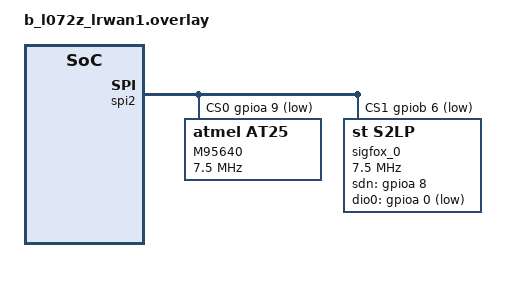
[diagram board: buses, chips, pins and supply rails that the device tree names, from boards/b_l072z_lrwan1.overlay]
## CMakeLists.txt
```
# SPDX-License-Identifier: Apache-2.0

cmake_minimum_required(VERSION 3.13.1)

find_package(Zephyr REQUIRED HINTS $ENV{ZEPHYR_BASE})
project(sigfox_send)

if(CONFIG_CPU_CORTEX_M0PLUS)
zephyr_link_libraries(
	${CMAKE_CURRENT_SOURCE_DIR}/libs/SFX_LIB_MON_CM0+_GCC.a)
elseif(CONFIG_CPU_CORTEX_M3)
zephyr_link_libraries(
	${CMAKE_CURRENT_SOURCE_DIR}/libs/SFX_LIB_MON_CM3_GCC.a)
elseif(CONFIG_CPU_CORTEX_M4 OR CONFIG_CPU_CORTEX_M7)
zephyr_link_libraries(
	${CMAKE_CURRENT_SOURCE_DIR}/libs/SFX_LIB_MON_CM4_GCC.a)
else()
message(FATAL_ERROR "This project only works with ARM Cortex-M MCUs")
endif()

if(CONFIG_SIGFOX_ST_RETRIEVER)
if(CONFIG_CPU_CORTEX_M0PLUS)
zephyr_link_libraries(
	${CMAKE_CURRENT_SOURCE_DIR}/libs/ST_RETRIEVER_LIB_CM0+_GCC.a)
elseif(CONFIG_CPU_CORTEX_M3)
zephyr_link_libraries(
	${CMAKE_CURRENT_SOURCE_DIR}/libs/ST_RETRIEVER_LIB_CM3_GCC.a)
elseif(CONFIG_CPU_CORTEX_M4 OR CONFIG_CPU_CORTEX_M7)
zephyr_link_libraries(
	${CMAKE_CURRENT_SOURCE_DIR}/libs/ST_RETRIEVER_LIB_CM4_GCC.a)
endif()
endif()

zephyr_linker_sources_ifdef(CONFIG_SIGFOX RODATA iar.rtmodel.ld)
zephyr_linker_sources_ifdef(CONFIG_SIGFOX RODATA iar.vfe.ld)

zephyr_include_directories(inc)

FILE(GLOB app_sources src/*.c)
target_sources(app PRIVATE ${app_sources})
```

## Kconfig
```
# Copyright (c) 2020 Gerson Fernando Budke
# SPDX-License-Identifier: Apache-2.0

menu "Sigfox Send Sample"

config SIGFOX_RADIO_API_VERSION
	string "SIGFOX RF API Version"
	default "v2.7.0"

config SIGFOX_MCU_API_VERSION
	string "SIGFOX MCU API Version"
	default "v2.3.7"

config SIGFOX_ST_RETRIEVER
	bool "Build with ST Retriever library"

config SIGFOX_SAMPLE_USE_LEDS
	bool "Build application with LED support"
	default y

module = SIGFOX_SEND
module-str = Log level for Sigfox Send sample
module-help = Enables logging for Sigfox Send sample code.
source "subsys/logging/Kconfig.template.log_config"

endmenu

source "Kconfig.zephyr"
```

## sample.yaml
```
common:
   tags: sigfox
sample:
   description: Demonstration of Sigfox Send functionality
   name: Sigfox Send Sample
tests:
   sample.driver.sigfox.send:
     platform_whitelist: frdm_k64f nucleo_f767zi nucleo_l053r8 sam_v71_xult
```

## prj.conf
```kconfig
# Common Config
CONFIG_LOG=y
CONFIG_GPIO=y
CONFIG_SIGFOX=y
CONFIG_SIGFOX_LOG_LEVEL_DBG=y
CONFIG_MAIN_STACK_SIZE=2048
#CONFIG_SIGFOX_MONARCH_FEATURE=y
#CONFIG_SIGFOX_ST_RETRIEVER=y

# Extended Config (Disable Minimal)
#CONFIG_EEPROM=y
#CONFIG_EEPROM_AT25=y
#CONFIG_SIGFOX_S2LP_LOG_LEVEL_DBG=y
#CONFIG_LOG_BUFFER_SIZE=16384
#CONFIG_SHELL=y
#CONFIG_MINIMAL_LIBC_MALLOC_ARENA_SIZE=2048
#CONFIG_SIGFOX_SEND_LOG_LEVEL_DBG=y

# Minimal Config (Disable Extended)
CONFIG_LOG_MINIMAL=y
CONFIG_SIGFOX_S2LP_LOG_LEVEL_OFF=y
CONFIG_MINIMAL_LIBC_MALLOC_ARENA_SIZE=256
CONFIG_HEAP_MEM_POOL_SIZE=256
```

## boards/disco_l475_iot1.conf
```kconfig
# Copyright (c) 2020 Gerson Fernando Budke <nandojve@gmail.com>
# SPDX-License-Identifier: Apache-2.0

CONFIG_SPI_STM32_DMA=y
CONFIG_SPI_STM32_INTERRUPT=n
CONFIG_SPI_STM32_USE_HW_SS=n

CONFIG_SIGFOX_S2LP=y
CONFIG_SIGFOX_S2LP_RX_STACK_SIZE=2048
```

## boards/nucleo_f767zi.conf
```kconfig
# Copyright (c) 2020 Gerson Fernando Budke <nandojve@gmail.com>
# SPDX-License-Identifier: Apache-2.0

#CONFIG_SPI_STM32_DMA=y
CONFIG_SPI_STM32_INTERRUPT=y
CONFIG_SPI_STM32_USE_HW_SS=y

CONFIG_SIGFOX_S2LP=y
CONFIG_SIGFOX_S2LP_RX_STACK_SIZE=2048
```

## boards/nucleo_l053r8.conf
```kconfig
# Copyright (c) 2020 Gerson Fernando Budke <nandojve@gmail.com>
# SPDX-License-Identifier: Apache-2.0

# STEVAL-FKI868V2 KIT shares LED pin with SPI clk
CONFIG_SIGFOX_SAMPLE_USE_LEDS=n

CONFIG_SPI_STM32_DMA=y
CONFIG_SPI_STM32_INTERRUPT=n
CONFIG_SPI_STM32_USE_HW_SS=n
```

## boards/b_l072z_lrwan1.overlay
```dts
/*
 * Copyright (c) 2020 Gerson Fernando Budke <nandojve@gmail.com>
 *
 * SPDX-License-Identifier: Apache-2.0
 */

/ {
	aliases {
		sigfox0 = &sigfox0;
	};
};

&spi2 {
	/**
	 * PA9 - eeprom		Arduino D8
	 * PB6 - s2-lp		Arduino D10
	 */
	cs-gpios = <&gpioa 9 GPIO_ACTIVE_LOW>,
		   <&gpiob 6 GPIO_ACTIVE_LOW>;

	dmas = <&dma1 5 2 0x28440 0x04>,
	       <&dma1 4 2 0x28480 0x04>;
	dma-names = "tx", "rx";

	eeprom1: eeprom@0 {
		compatible = "atmel,at25";
		reg = <0x0>;
		label = "M95640";
		size = <DT_SIZE_K(8)>;
		pagesize = <32>;
		address-width = <16>;
		timeout = <10>;
		spi-max-frequency = <7500000>;
		status = "okay";
	};

	/* STEVAL-FKI868V2 */
	sigfox0: sigfox@1 {
		compatible = "st,s2lp";
		reg = <0x1>;
		label = "sigfox_0";
		spi-max-frequency = <7500000>;

		/* D7 */
		sdn-gpios = <&gpioa 8 GPIO_ACTIVE_HIGH>;

		/* MCU gpio: in,irq line */
		dio0-gpios = <&gpioa 0 (GPIO_PULL_UP | GPIO_ACTIVE_LOW)>;
		/* s2-lp: out -> nIRQ */
		dio0-function = <0x02>;

		trx-clock-frequency = <50000000>;

		status = "okay";
	};
};

&dma1 {
	status = "okay";
};
```

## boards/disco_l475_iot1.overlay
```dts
/*
 * Copyright (c) 2020 Gerson Fernando Budke <nandojve@gmail.com>
 *
 * SPDX-License-Identifier: Apache-2.0
 */

/ {
	aliases {
		sigfox0 = &sigfox0;
	};
};

&spi1 {
	/**
	 * PB2 - eeprom		Arduino D8
	 * PA2 - s2-lp		Arduino D10
	 */
	cs-gpios = <&gpiob 2 GPIO_ACTIVE_LOW>,
		   <&gpioa 2 GPIO_ACTIVE_LOW>;

	dmas = <&dma1 3 1 0x28440 0x04>,
	       <&dma1 2 1 0x28480 0x04>;
	dma-names = "tx", "rx";

	eeprom1: eeprom@0 {
		compatible = "atmel,at25";
		reg = <0x0>;
		label = "M95640";
		size = <DT_SIZE_K(8)>;
		pagesize = <32>;
		address-width = <16>;
		timeout = <10>;
		spi-max-frequency = <20000000>;
		status = "okay";
	};

	/* STEVAL-FKI868V2 */
	sigfox0: sigfox@1 {
		compatible = "st,s2lp";
		reg = <0x1>;
		label = "sigfox_0";
		spi-max-frequency = <10000000>;

		/* D7 */
		sdn-gpios = <&gpioa 4 GPIO_ACTIVE_HIGH>;

		/* MCU gpio: in,irq line */
		dio0-gpios = <&gpioc 0 (GPIO_PULL_UP | GPIO_ACTIVE_LOW)>;
		/* s2-lp: out -> nIRQ */
		dio0-function = <0x02>;

		trx-clock-frequency = <50000000>;

		status = "okay";
	};
};

&dma1 {
	status = "okay";
};
```

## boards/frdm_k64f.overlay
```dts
/*
 * Copyright (c) 2020 Gerson Fernando Budke <nandojve@gmail.com>
 *
 * SPDX-License-Identifier: Apache-2.0
 */

/ {
	aliases {
		sigfox0 = &sigfox0;
	};
};

&spi0 {
	/**
	 * PD0  - s2-lp
	 * PC12 - eeprom
	 */
	cs-gpios = <&gpiod 0  GPIO_ACTIVE_LOW>,
		   <&gpioc 12 GPIO_ACTIVE_LOW>;

	/* STEVAL-FKI868V2 */
	sigfox0: sigfox@0 {
		compatible = "st,s2lp";
		reg = <0x0>;
		label = "sigfox_0";
		spi-max-frequency = <8000000>;

		sdn-gpios = <&gpioc 3 GPIO_ACTIVE_HIGH>;
		/* MCU gpio: in,irq line */
		dio0-gpios = <&gpiob 2 (GPIO_PULL_UP | GPIO_ACTIVE_LOW)>;
		/* s2-lp: out -> nIRQ */
		dio0-function = <0x02>;

		trx-clock-frequency = <50000000>;

		status = "okay";
	};

	eeprom1: eeprom@1 {
		compatible = "atmel,at25";
		reg = <0x1>;
		label = "M95640";
		size = <8192>;
		pagesize = <32>;
		address-width = <16>;
		timeout = <10>;
		spi-max-frequency = <10000000>;

		status = "okay";
	};
};
```

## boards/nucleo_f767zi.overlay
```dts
/*
 * Copyright (c) 2020 Gerson Fernando Budke <nandojve@gmail.com>
 *
 * SPDX-License-Identifier: Apache-2.0
 */

/ {
	aliases {
		sigfox0 = &sigfox0;
	};
};

&spi1 {
	/**
	 * PF12 - eeprom
	 * PD14 - s2-lp
	 */
	cs-gpios = <&gpiof 12 GPIO_ACTIVE_LOW>,
		   <&gpiod 14 GPIO_ACTIVE_LOW>;

	dmas = <&dma2 5 3 0x28440 0x03>,
	       <&dma2 2 3 0x28480 0x03>;
	dma-names = "tx", "rx";

	eeprom1: eeprom@0 {
		compatible = "atmel,at25";
		reg = <0x0>;
		label = "M95640";
		size = <8192>;
		pagesize = <32>;
		address-width = <16>;
		timeout = <10>;
		spi-max-frequency = <4000000>;

		status = "okay";
	};

	/* STEVAL-FKI868V2 */
	sigfox0: sigfox@1 {
		compatible = "st,s2lp";
		reg = <0x1>;
		label = "sigfox_0";
		spi-max-frequency = <4000000>;

		sdn-gpios = <&gpiof 13 GPIO_ACTIVE_HIGH>;

		/* MCU gpio: in,irq line */
		dio0-gpios = <&gpioa 3 (GPIO_PULL_UP | GPIO_ACTIVE_LOW)>;
		/* s2-lp gpio0: nIRQ + Output Low Power */
		dio0-function = <0x02>;

		trx-clock-frequency = <50000000>;

		status = "okay";
	};
};

&dma2 {
	status = "okay";
};
```

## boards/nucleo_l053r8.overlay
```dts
/*
 * Copyright (c) 2020 Gerson Fernando Budke <nandojve@gmail.com>
 *
 * SPDX-License-Identifier: Apache-2.0
 */

/ {
	aliases {
		sigfox0 = &sigfox0;
	};
};

&spi1 {
	/**
	 * PA9 - eeprom		Arduino D8
	 * PB6 - s2-lp		Arduino D10
	 */
	cs-gpios = <&gpioa 9 GPIO_ACTIVE_LOW>,
		   <&gpiob 6 GPIO_ACTIVE_LOW>;

	dmas = <&dma1 3 1 0x28440 0x04>,
	       <&dma1 2 1 0x28480 0x04>;
	dma-names = "tx", "rx";

	eeprom1: eeprom@0 {
		compatible = "atmel,at25";
		reg = <0x0>;
		label = "M95640";
		size = <DT_SIZE_K(8)>;
		pagesize = <32>;
		address-width = <16>;
		timeout = <10>;
		spi-max-frequency = <7500000>;
		status = "okay";
	};

	/* STEVAL-FKI868V2 */
	sigfox0: sigfox@1 {
		compatible = "st,s2lp";
		reg = <0x1>;
		label = "sigfox_0";
		spi-max-frequency = <7500000>;

		/* D7 */
		sdn-gpios = <&gpioa 8 GPIO_ACTIVE_HIGH>;

		/* MCU gpio: in,irq line */
		dio0-gpios = <&gpioa 0 (GPIO_PULL_UP | GPIO_ACTIVE_LOW)>;
		/* s2-lp: out -> nIRQ */
		dio0-function = <0x02>;

		trx-clock-frequency = <50000000>;

		status = "okay";
	};
};

&dma1 {
	status = "okay";
};
```

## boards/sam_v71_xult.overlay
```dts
/*
 * Copyright (c) 2020 Gerson Fernando Budke <nandojve@gmail.com>
 *
 * SPDX-License-Identifier: Apache-2.0
 */

/ {
	aliases {
		sigfox0 = &sigfox0;
	};
};

&spi0 {
	cs-gpios = <&piod 25 GPIO_ACTIVE_LOW>,
		   <&piod 27 GPIO_ACTIVE_LOW>,
		   <&pioa 5 GPIO_ACTIVE_LOW>;

	/* STEVAL-FKI868V2 */
	sigfox0: sigfox@0 {
		compatible = "st,s2lp";
		reg = <0x0>;
		label = "sigfox_0";
		spi-max-frequency = <8000000>;

		sdn-gpios = <&pioa 2 GPIO_ACTIVE_HIGH>;

		/* MCU gpio: in,irq line */
		dio0-gpios = <&piod 26 (GPIO_PULL_UP | GPIO_ACTIVE_LOW)>;
		/* s2-lp: nIRQ + Output Low Power */
		dio0-function = <0xA3>;

		trx-clock-frequency = <50000000>;

		status = "okay";
	};

	eeprom0: eeprom@2 {
		compatible = "atmel,at25";
		reg = <0x2>;
		label = "M95640";
		size = <8192>;
		pagesize = <32>;
		address-width = <16>;
		timeout = <10>;
		spi-max-frequency = <4000000>;

		status = "okay";
	};
};
```

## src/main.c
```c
/*
 * Copyright (c) 2020 Gerson Fernando Budke <nandojve@gmail.com>
 *
 * SPDX-License-Identifier: Apache-2.0
 */

#include <device.h>
#include <drivers/sigfox.h>
#include <drivers/gpio.h>
#include <errno.h>
#include <sys/util.h>
#include <zephyr.h>

#include <sigfox_types.h>
#include <sigfox_api.h>
#include <sigfox_zephyr.h>

#include <main.h>

BUILD_ASSERT(DT_NODE_HAS_STATUS(DEFAULT_RADIO_NODE, okay),
	     "No default Sigfox radio specified in DT");

#include <logging/log.h>
LOG_MODULE_REGISTER(sigfox_send, CONFIG_SIGFOX_SEND_LOG_LEVEL);

static struct sigfox_context ctx;
static uint8_t customer_data[12] = {1, 2, 3, 4, 5, 6, 7, 8, 9, 0xa, 0xb, 0xc};
static uint8_t customer_resp[8] =  {0};

void main(void)
{
#if defined(CONFIG_SIGFOX_SAMPLE_USE_LEDS)
	struct device *led0_dev;
	int ret;
#endif

	ctx.dev = device_get_binding(DEFAULT_RADIO);
	if (!ctx.dev) {
		LOG_ERR("%s Device not found", DEFAULT_RADIO);
		return;
	}

	ctx.config.mode = SIGFOX_MODE_TX;

	/* Set SIGFOX Context */
	sigfox_radio_set_context(&ctx);

#if defined(CONFIG_SIGFOX_SAMPLE_USE_LEDS)
	led0_dev = device_get_binding(LED0);
	if (!led0_dev) {
		LOG_ERR("%s Device not found", LED0);
		return;
	}

	ret = gpio_pin_configure(led0_dev, PIN, GPIO_OUTPUT_ACTIVE | FLAGS);
	if (ret < 0) {
		LOG_ERR("GPIO configure error");
		return;
	}
#endif

	while (1) {
		LOG_INF("Data sent!");
#if defined(CONFIG_SIGFOX_SAMPLE_USE_LEDS)
		gpio_pin_set(led0_dev, PIN, 1);
		k_msleep(50);
		gpio_pin_set(led0_dev, PIN, 0);
#endif

		SIGFOX_API_send_frame(customer_data, sizeof(customer_data),
				      customer_resp, 2, 0);

		/* Send data at 1min interval */
		k_sleep(K_SECONDS(20));
	}
}
```

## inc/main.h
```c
/*
 * Copyright (c) 2020 Gerson Fernando Budke
 *
 * SPDX-License-Identifier: Apache-2.0
 */

#define DEFAULT_RADIO_NODE	DT_ALIAS(sigfox0)
#define DEFAULT_RADIO		DT_LABEL(DEFAULT_RADIO_NODE)

#define LED0_NODE		DT_ALIAS(led0)
#define LED0			DT_GPIO_LABEL(LED0_NODE, gpios)
#define PIN			DT_GPIO_PIN(LED0_NODE, gpios)
#if DT_PHA_HAS_CELL(LED0_NODE, gpios, flags)
#define FLAGS			DT_GPIO_FLAGS(LED0_NODE, gpios)
#else
#define FLAGS			0
#endif
```

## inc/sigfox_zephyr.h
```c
/*
 * Copyright (c) 2020 Gerson Fernando Budke
 *
 * SPDX-License-Identifier: Apache-2.0
 */

struct sigfox_context {
	struct device *dev;
	struct sigfox_modem_config config;
	struct sfx_rc_t sfx_rc;
};

void sigfox_radio_set_context(struct sigfox_context *ctx);
```

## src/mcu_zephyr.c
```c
/*
 * Copyright (c) 2020 Gerson Fernando Budke
 *
 * SPDX-License-Identifier: Apache-2.0
 */

#include <zephyr.h>
#include <drivers/sigfox.h>

#include <sigfox_types.h>
#include <sigfox_api.h>
#include <mcu_api.h>
#include <retriever_api.h>
#include <string.h>
#include <stdlib.h>

#include <tinycrypt/cbc_mode.h>
#include <tinycrypt/constants.h>

#include <logging/log.h>
LOG_MODULE_REGISTER(sigfox_mcu, CONFIG_SIGFOX_SEND_LOG_LEVEL);

static uint8_t sfx_int_data[SFX_NVMEM_BLOCK_SIZE] = { 0 };

const uint8_t private_key[16] = {
	0x00, 0x11, 0x22, 0x33,  0x44, 0x55, 0x66, 0x77,
	0x88, 0x99, 0xaa, 0xbb,  0xcc, 0xdd, 0xee, 0xff,
};

#if defined(CONFIG_SIGFOX_ST_RETRIEVER)
static uint32_t _id;
static uint8_t  _pac[8];
static uint8_t  _rcz;
#endif

/**
 * SIGFOX MCU ZEPHYR API
 */
sfx_u8 MCU_API_malloc(sfx_u16 size, sfx_u8 **returned_pointer)
{
	/* Must be 4 bytes align */
	uint32_t *ptr = malloc(size / sizeof(uint32_t));

	LOG_DBG("Size: %d, Address: %08X", size, (uint32_t) ptr);

	if (ptr) {
		(*returned_pointer) = (sfx_u8 *) ptr;

		return SIGFOX_ERR_NONE;
	}

	return MCU_ERR_API_MALLOC;
}

sfx_u8 MCU_API_free(sfx_u8 *ptr)
{
	LOG_DBG("Address: %08X", (uint32_t) ptr);

	free((uint32_t *) ptr);

	return SIGFOX_ERR_NONE;
}

sfx_u8 MCU_API_get_voltage_temperature(sfx_u16 *voltage_idle,
				       sfx_u16 *voltage_tx,
				       sfx_s16 *temperature)
{
	(*voltage_idle) = 0;
	(*voltage_tx)   = 0;
	(*temperature)  = 0;

	LOG_DBG("MCU_API_get_voltage_temperature");

	return SIGFOX_ERR_NONE;
}

sfx_u8 MCU_API_delay(sfx_delay_t delay_type)
{
	LOG_DBG("Type: %d", delay_type);

	switch (delay_type) {
	case SFX_DLY_INTER_FRAME_TRX:
	case SFX_DLY_INTER_FRAME_TX:
	case SFX_DLY_CS_SLEEP:
		/**
		 * Since ramp consists of 72 samples (18ms for each ramp, it
		 * needs to be compensate 36 ms). Moreover, 6ms of silence
		 * (2 before and 4 after packet).
		 */
		/*(500 - 2 * ST_RF_API_get_ramp_duration());*/
		k_busy_wait(500000);
		break;
	case SFX_DLY_OOB_ACK:
		/*(2000-2*ST_RF_API_get_ramp_duration());*/
		k_busy_wait(2000000);
		break;
	}

	return SIGFOX_ERR_NONE;
}

sfx_u8 MCU_API_timer_start_carrier_sense(sfx_u16 time_duration_in_ms)
{
	LOG_DBG("Duration: %dms", time_duration_in_ms);

	return SIGFOX_ERR_NONE;
}

sfx_u8 MCU_API_timer_stop_carrier_sense(void)
{
	LOG_DBG("");

	return SIGFOX_ERR_NONE;
}

sfx_u8 MCU_API_timer_start(sfx_u32 time_duration_in_s)
{
	LOG_DBG("Duration: %lus", time_duration_in_s);

	return SIGFOX_ERR_NONE;
}

sfx_u8 MCU_API_timer_stop(void)
{
	LOG_DBG("");

	return SIGFOX_ERR_NONE;
}

sfx_u8 MCU_API_timer_wait_for_end(void)
{
	LOG_DBG("");

	return SIGFOX_ERR_NONE;
}

sfx_u8 MCU_API_report_test_result(sfx_bool status, sfx_s16 rssi)
{
	LOG_DBG("Status: %d, RSSI: %d", status, rssi);

	return SIGFOX_ERR_NONE;
}

sfx_u8 MCU_API_get_version(sfx_u8 **version, sfx_u8 *size)
{
	(*version) = (sfx_u8 *) CONFIG_SIGFOX_MCU_API_VERSION;
	(*size) = sizeof(CONFIG_SIGFOX_MCU_API_VERSION);

	LOG_DBG("Version: %s, Size: %d", *version, *size);

	return SIGFOX_ERR_NONE;
}

sfx_u8 MCU_API_get_nv_mem(sfx_u8 read_data[SFX_NVMEM_BLOCK_SIZE])
{
	memcpy((uint8_t *) read_data,
	       (uint8_t *) sfx_int_data,
	       SFX_NVMEM_BLOCK_SIZE);

	LOG_HEXDUMP_DBG(read_data, SFX_NVMEM_BLOCK_SIZE, "get NV mem");

	return SIGFOX_ERR_NONE;
}

sfx_u8 MCU_API_set_nv_mem(sfx_u8 data_to_write[SFX_NVMEM_BLOCK_SIZE])
{
	memcpy((uint8_t *) sfx_int_data,
	       (uint8_t *) data_to_write,
	       SFX_NVMEM_BLOCK_SIZE);

	LOG_HEXDUMP_DBG(data_to_write, SFX_NVMEM_BLOCK_SIZE, "set NV mem");

	return SIGFOX_ERR_NONE;
}

sfx_u8 MCU_API_aes_128_cbc_encrypt(sfx_u8 *encrypted_data,
				   sfx_u8 *data_to_encrypt,
				   sfx_u8 aes_block_len,
				   sfx_u8 key[16],
				   sfx_credentials_use_key_t use_key)
{
#if !defined(CONFIG_SIGFOX_ST_RETRIEVER)
	struct tc_aes_key_sched_struct aes;
	uint8_t iv[TC_AES_BLOCK_SIZE];
	uint8_t enc[TC_AES_BLOCK_SIZE + aes_block_len];
	const uint8_t *key_ptr;
	sfx_s8 ret;

	key_ptr = (use_key == CREDENTIALS_PRIVATE_KEY) ? private_key : key;

	LOG_HEXDUMP_DBG(data_to_encrypt, aes_block_len, "aes in");
	LOG_HEXDUMP_DBG(key_ptr, TC_AES_BLOCK_SIZE, "PK");
	LOG_HEXDUMP_DBG(key, TC_AES_BLOCK_SIZE, "Public Key");

	(void)tc_aes128_set_encrypt_key(&aes, key_ptr);
	(void)memset(iv, 0, TC_AES_BLOCK_SIZE);

	if (tc_cbc_mode_encrypt(enc,
				aes_block_len + TC_AES_BLOCK_SIZE,
				data_to_encrypt, aes_block_len,
				iv, &aes) == 0) {
		LOG_ERR("encrypting");

		ret = SIGFOX_ERR_MCU_AES;
	} else {
		memcpy(encrypted_data, enc + TC_AES_BLOCK_SIZE, aes_block_len);
		LOG_HEXDUMP_DBG(enc + TC_AES_BLOCK_SIZE,
				aes_block_len, "aes out");

		ret = SIGFOX_ERR_NONE;
	}

	(void)memset(iv, 0, TC_AES_BLOCK_SIZE);
	(void)memset(&aes, 0, sizeof(struct tc_aes_key_sched_struct));

	return ret;
#else
	LOG_HEXDUMP_DBG(data_to_encrypt, aes_block_len, "aes in");

	enc_utils_encrypt(encrypted_data, data_to_encrypt,
			  aes_block_len, key, use_key);

	LOG_HEXDUMP_DBG(encrypted_data, aes_block_len, "aes out");

	return SIGFOX_ERR_NONE;
#endif
}

sfx_u8 MCU_API_get_device_id_and_payload_encryption_flag(
	sfx_u8 dev_id[ID_LENGTH],
	sfx_bool *payload_encryption_enabled)
{
#if defined(CONFIG_SIGFOX_ST_RETRIEVER)
	enc_utils_retrieve_data(&_id, _pac, &_rcz);
	LOG_DBG("ID: %08x", _id);
	memcpy(dev_id, &_id, ID_LENGTH);
#else
	dev_id[0] = 0xFE;
	dev_id[1] = 0xDC;
	dev_id[2] = 0xBA;
	dev_id[3] = 0x98;
#endif
	(*payload_encryption_enabled) = 0;

	LOG_DBG("ID: %02x-%02x-%02x-%02x, Encrypt: %s",
		dev_id[0], dev_id[1], dev_id[2], dev_id[3],
		*payload_encryption_enabled ? "True" : "False");

	return SIGFOX_ERR_NONE;
}

sfx_u8 MCU_API_get_initial_pac(sfx_u8 initial_pac[PAC_LENGTH])
{
#if defined(CONFIG_SIGFOX_ST_RETRIEVER)
	memcpy(initial_pac, _pac, PAC_LENGTH);
#else
	initial_pac[0] = 0x11;
	initial_pac[1] = 0x22;
	initial_pac[2] = 0x33;
	initial_pac[3] = 0x44;

	initial_pac[4] = 0x55;
	initial_pac[5] = 0x66;
	initial_pac[6] = 0x77;
	initial_pac[7] = 0x88;
#endif
	LOG_DBG("ID: %02x-%02x-%02x-%02x-%02x-%02x-%02x-%02x",
		initial_pac[3], initial_pac[2],
		initial_pac[1], initial_pac[0],
		initial_pac[7], initial_pac[6],
		initial_pac[5], initial_pac[4]);

	return SIGFOX_ERR_NONE;
}

/**
 * Sigfox dependency
 */
void __aeabi_memcpy(void *dest, const void *src, size_t n)
{
	memcpy(dest, src, n);
}

void __aeabi_memcpy4(void *dest, const void *src, size_t n)
{
	memcpy(dest, src, n);
}

void __aeabi_memclr(void *dest, size_t n)
{
	memset(dest, 0, n);
}

void __aeabi_memclr4(void *dest, size_t n)
{
	memset(dest, 0, n);
}

void __aeabi_memset(void *dest, char c, size_t n)
{
	memset(dest, c, n);
}

/**
 * ST, deve ser removido
 */

#if defined(CONFIG_SIGFOX_ST_RETRIEVER)
uint32_t GetNVMBoardDataAddress(void)
{
	uint32_t address = 0x600;

	LOG_DBG("Address: 0x%08x", address);

	return address;
}

NVM_RW_RESULTS NVM_Read(uint32_t nAddress, uint8_t cNbBytes, uint8_t *pcBuffer)
{
	LOG_DBG("Address: 0x%08x, len: %d", nAddress, cNbBytes);

	return 0;
}

uint8_t EepromRead(uint16_t nAddress, uint8_t cNbBytes, uint8_t *pcBuffer)
{
	LOG_DBG("Address: 0x%08x, len: %d", nAddress, cNbBytes);

	switch (nAddress) {
	case 0x1f0:
		memcpy(pcBuffer, sfx_data_vector, cNbBytes);
		break;
	case 0x200:
		memcpy(pcBuffer, sfx_data_vector + 16, cNbBytes);
		break;
	case 0x6:
		memcpy(pcBuffer, sfx_data_vector + 6, cNbBytes);
		break;
	}

	LOG_HEXDUMP_DBG(pcBuffer, cNbBytes, "dump");

	return 0;
}
#endif
```

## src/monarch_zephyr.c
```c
/*
 * Copyright (c) 2020 Gerson Fernando Budke
 *
 * SPDX-License-Identifier: Apache-2.0
 */

#include <sigfox_types.h>
#include <sigfox_monarch_api.h>
#include <monarch_api.h>

#include <logging/log.h>
LOG_MODULE_REGISTER(sigfox_monarch, CONFIG_SIGFOX_SEND_LOG_LEVEL);

/**
 * SIGFOX MONARCH MANUFACTUER API
 */

sfx_u8 MONARCH_API_malloc(sfx_u16 size,
			  sfx_u8 **returned_pointer)
{
	return MONARCH_ERR_API_MALLOC;
}

sfx_u8 MONARCH_API_free(sfx_u8 *ptr)
{
	return MONARCH_ERR_API_FREE;
}

sfx_u8 MONARCH_API_timer_start(sfx_u16 timer_value,
			       sfx_timer_unit_enum_t unit,
			       sfx_error_t (*timeout_callback_handler)(void))
{
	return MONARCH_ERR_API_TIMER_START;
}

sfx_u8 MONARCH_API_timer_stop(void)
{
	return MONARCH_ERR_API_TIMER_STOP;
}

sfx_u8 MONARCH_API_configure_search_pattern(
	sfx_monarch_pattern_search_t list_freq_pattern[],
	sfx_u8 size,
	sfx_monarch_listening_mode_t mode,
	sfx_error_t (*monarch_pattern_freq_result_callback_handler)(
		sfx_u32 freq,
		sfx_pattern_enum_t pattern,
		sfx_s16 rssi))
{
	return MONARCH_ERR_API_CONFIGURE_SEARCH_PATTERN;
}

sfx_u8 MONARCH_API_stop_search_pattern(void)
{
	return MONARCH_ERR_API_STOP_SEARCH_PATTERN;
}

sfx_u8 MONARCH_API_get_version(sfx_u8 **version, sfx_u8 *size)
{
	return MONARCH_ERR_API_GET_VERSION;
}
```

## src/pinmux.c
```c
/*
 * Copyright (c) 2020 Gerson Fernando Budke <nandojve@gmail.com>
 *
 * SPDX-License-Identifier: Apache-2.0
 */

#include <init.h>
#include <drivers/pinmux.h>

#if defined(CONFIG_BOARD_FRDM_K64F)
#include <fsl_port.h>
#endif

static int sigfox_pinmux_init(struct device *dev)
{
	ARG_UNUSED(dev);

#if defined(CONFIG_BOARD_FRDM_K64F)
	struct device *portb =
		device_get_binding(CONFIG_PINMUX_MCUX_PORTB_NAME);
	struct device *portc =
		device_get_binding(CONFIG_PINMUX_MCUX_PORTC_NAME);

	/* INT */
	pinmux_pin_set(portb, 2, PORT_PCR_MUX(kPORT_MuxAsGpio));
	/* SDN */
	pinmux_pin_set(portc, 3, PORT_PCR_MUX(kPORT_MuxAsGpio));
	/* EEPROM CS */
	pinmux_pin_set(portc, 12, PORT_PCR_MUX(kPORT_MuxAsGpio));
#endif

	return 0;
}

SYS_INIT(sigfox_pinmux_init, PRE_KERNEL_1, CONFIG_PINMUX_INIT_PRIORITY);
```

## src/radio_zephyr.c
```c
/*
 * Copyright (c) 2020 Gerson Fernando Budke
 *
 * SPDX-License-Identifier: Apache-2.0
 */

#include <device.h>
#include <drivers/sigfox.h>

#include <sigfox_types.h>
#include <sigfox_api.h>
#include <rf_api.h>

#include <sigfox_zephyr.h>

#include <logging/log.h>
LOG_MODULE_REGISTER(sigfox_radio, CONFIG_SIGFOX_SEND_LOG_LEVEL);

static struct sigfox_context *sfx_radio_ctx;
/*
 * #define RC2_SET_STD_CONFIG_LM_WORD_0 0x000001FF  LM = Long Message
 * #define RC2_SET_STD_CONFIG_LM_WORD_1 0x00000000
 * #define RC2_SET_STD_CONFIG_LM_WORD_2 0x00000000
 * #define RC2_SET_STD_TIMER_ENABLE     (SFX_TRUE)  En Tmr for FH duty cycle
 * #define RC2_SET_STD_TIMER_DISABLE    (SFX_FALSE) Disable timer feature
 * #define RC2_SET_STD_CONFIG_SM_WORD_0 0x00000001  SM = Short message
 * #define RC2_SET_STD_CONFIG_SM_WORD_1 0x00000000
 * #define RC2_SET_STD_CONFIG_SM_WORD_2 0x00000000
 */
void sigfox_radio_set_context(struct sigfox_context *ctx)
{
	/* In FCC we can choose the macro channel to use by a 86 bits bitmask
	 * In this case we use the first 9 macro channels
	 */
	sfx_u32 config_words[3] = {1, 0, 0};

	sfx_radio_ctx = ctx;

	/* RC2 - Brazil */
	ctx->sfx_rc.open_tx_frequency = 902200000;
	ctx->sfx_rc.open_rx_frequency = 905200000;
	ctx->sfx_rc.macro_channel_width = 192000;
	ctx->sfx_rc.modulation = SIGFOX_DBPSK_600BPS;
	ctx->sfx_rc.spectrum_access = SIGFOX_FH;
	ctx->sfx_rc.specific_rc.open_cs_frequency = 0;
	ctx->sfx_rc.specific_rc.open_cs_bandwidth = 0;
	ctx->sfx_rc.specific_rc.cs_threshold = 0;

	if (SIGFOX_API_open(&sfx_radio_ctx->sfx_rc)) {
		LOG_ERR("open");
	}

	/* Set the standard configuration with default channel to 1 */
	if (SIGFOX_API_set_std_config(config_words, 0)) {
		LOG_ERR("set_std_config");
	}
}

/**
 * SIGFOX RADIO ZEPHYR API
 */

sfx_u8 RF_API_init(sfx_rf_mode_t rf_mode)
{
	const struct device *dev = sfx_radio_ctx->dev;
	const struct sigfox_modem_config *config = &sfx_radio_ctx->config;
	const struct sigfox_driver_api *api = dev->api;
	int ret;

	LOG_DBG("");

	ret = api->start(dev);
	if (ret) {
		return ret;
	}

	sfx_radio_ctx->config.mode = rf_mode;

	return api->config(dev, config);
}

sfx_u8 RF_API_stop(void)
{
	const struct device *dev = sfx_radio_ctx->dev;
	const struct sigfox_driver_api *api = dev->api;

	LOG_DBG("");

	return api->stop(dev);
}

sfx_u8 RF_API_send(sfx_u8 *stream,
		   sfx_modulation_type_t type,
		   sfx_u8 size)
{
	const struct device *dev = sfx_radio_ctx->dev;
	const struct sigfox_driver_api *api = dev->api;

	LOG_DBG("");

	return api->send(dev, type, stream, size);
}

sfx_u8 RF_API_start_continuous_transmission(sfx_modulation_type_t type)
{
	const struct device *dev = sfx_radio_ctx->dev;
	const struct sigfox_driver_api *api = dev->api;

	LOG_DBG("");

	return api->tx_cont_start(dev, type);
}

sfx_u8 RF_API_stop_continuous_transmission(void)
{
	const struct device *dev = sfx_radio_ctx->dev;
	const struct sigfox_driver_api *api = dev->api;

	LOG_DBG("");

	return api->tx_cont_stop(dev);
}

sfx_u8 RF_API_change_frequency(sfx_u32 frequency)
{
	const struct device *dev = sfx_radio_ctx->dev;
	const struct sigfox_driver_api *api = dev->api;

	LOG_DBG("");

	return api->sw_freq(dev, frequency);
}

sfx_u8 RF_API_wait_frame(sfx_u8 *frame,
			 sfx_s16 *rssi,
			 sfx_rx_state_enum_t *state)
{
	const struct device *dev = sfx_radio_ctx->dev;
	const struct sigfox_driver_api *api = dev->api;
	enum sigfox_rx_state rx_state;
	int ret;

	LOG_DBG("");

	ret = api->recv(dev, &rx_state, frame, rssi);
	if (ret) {
		return ret;
	}

	(*state) = rx_state;

	return SFX_ERR_NONE;
}

sfx_u8 RF_API_wait_for_clear_channel(sfx_u8 cs_min,
				     sfx_s8 cs_threshold,
				     sfx_rx_state_enum_t *state)
{
	const struct device *dev = sfx_radio_ctx->dev;
	const struct sigfox_driver_api *api = dev->api;
	enum sigfox_rx_state rx_state;
	int ret;

	LOG_DBG("");

	ret = api->cca(dev, &rx_state, cs_min, cs_threshold);
	if (ret) {
		return ret;
	}

	(*state) = rx_state;

	return SFX_ERR_NONE;
}

sfx_u8 RF_API_get_version(sfx_u8 **version, sfx_u8 *size)
{
	(*version) = (sfx_u8 *) CONFIG_SIGFOX_RADIO_API_VERSION;
	(*size) = sizeof(CONFIG_SIGFOX_RADIO_API_VERSION);

	LOG_DBG("Version: %s, Size: %d", *version, *size);

	return SFX_ERR_NONE;
}
```
